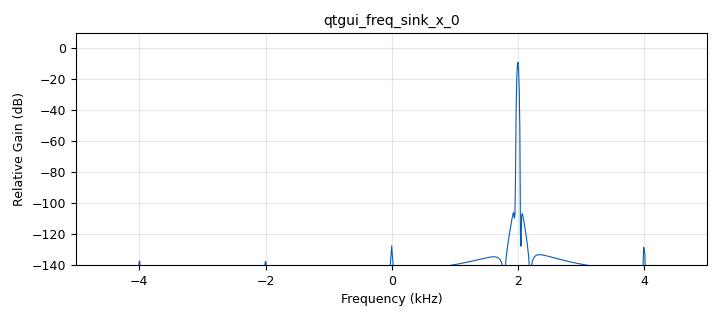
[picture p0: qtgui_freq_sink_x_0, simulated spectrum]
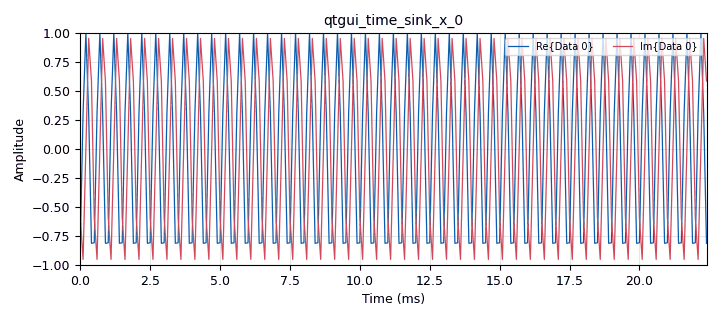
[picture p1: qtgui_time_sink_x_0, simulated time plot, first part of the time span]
options:
  parameters:
    generate_options: qt_gui
    id: ece531_lab
    output_language: python
    title: ece531_lab1a
  states: {}

blocks:
- name: freq
  id: variable
  parameters:
    value: '2000'
  states: {}
- name: frequency
  id: variable_qtgui_range
  parameters:
    start: '2000'
    step: '100'
    stop: '15000'
    value: '2000'
  states: {}
- name: samp_rate
  id: variable_qtgui_range
  parameters:
    start: '1000'
    step: '200'
    stop: '40000'
    value: '10000'
  states: {}
- name: analog_sig_source_x_0
  id: analog_sig_source_x
  parameters:
    amp: '1'
    freq: frequency
    offset: '0'
    phase: '0'
    samp_rate: samp_rate
    type: complex
    waveform: analog.GR_SIN_WAVE
  states: {}
- name: blocks_throttle2_0
  id: blocks_throttle2
  parameters:
    samples_per_second: '32000'
    type: complex
  states: {}
- name: qtgui_freq_sink_x_0
  id: qtgui_freq_sink_x
  parameters:
    bw: samp_rate
    fc: '0'
    fftsize: '1024'
    type: complex
  states: {}
- name: qtgui_tab_widget_0
  id: qtgui_tab_widget
  parameters:
    label0: Time
    label1: Frequency
    num_tabs: '2'
  states: {}
- name: qtgui_time_sink_x_0
  id: qtgui_time_sink_x
  parameters:
    size: '1024'
    srate: samp_rate
    tr_mode: qtgui.TRIG_MODE_AUTO
    type: complex
  states: {}

connections:
- [analog_sig_source_x_0, '0', blocks_throttle2_0, '0']
- [blocks_throttle2_0, '0', qtgui_freq_sink_x_0, '0']
- [blocks_throttle2_0, '0', qtgui_time_sink_x_0, '0']

metadata:
  file_format: 1
  grc_version: 3.10.9.2
